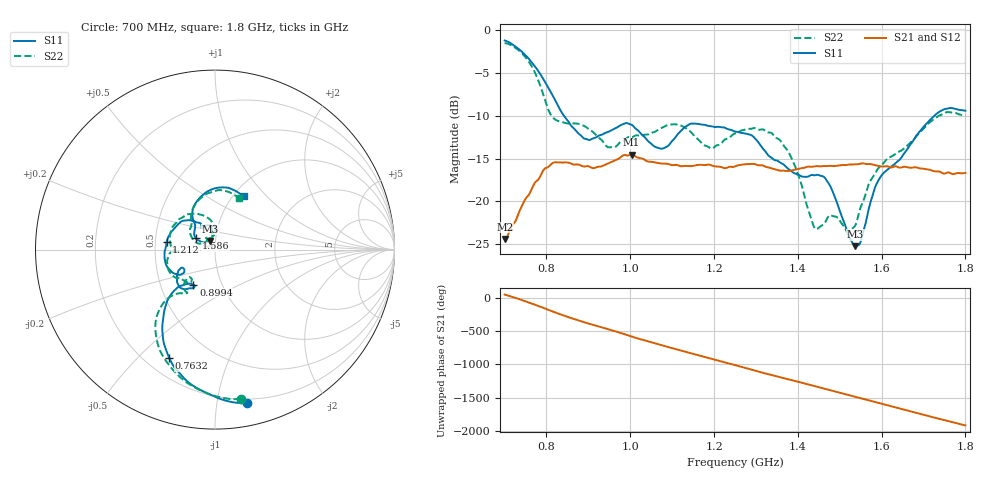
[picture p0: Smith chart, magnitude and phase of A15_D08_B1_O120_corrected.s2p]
! Created with skrf 1.9.0 (http://scikit-rf.org).
# Hz S RI R 50.0
!freq ReS11 ImS11 ReS21 ImS21 ReS12 ImS12 ReS22 ImS22
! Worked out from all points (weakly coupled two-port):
!   1601 points, 700 MHz to 1.8 GHz, reference 50 ohm
!   highest |S21| = -14.51 dB at 1.003 GHz (marker M1); lowest = -24.4 dB at 700.7 MHz (marker M2)
!   lowest |S11| = -25.2 dB at 1.537 GHz (marker M3), VSWR 1.12, Z = 47.3 + j4.6 ohm
!   |S11| at or under -10 dB: 841.9 MHz to 1.725 GHz (883.5 MHz wide, 68.8 % of centre)
!   |S22| runs from -23.6 to -1.5 dB; largest |S21 - S12| = 0.0037
!   S11 on the Smith chart (normalised r, x): 700 MHz: 0.17, -1.21; 763.2 MHz: 0.29, -0.62; 899.4 MHz: 0.73, -0.30; 1.212 GHz: 0.57, +0.05; 1.586 GHz: 0.80, +0.10; 1.8 GHz: 1.12, +0.75
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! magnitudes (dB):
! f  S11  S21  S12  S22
! 700 MHz  -1.2  -24.4  -24.2  -1.5
! 700.7 MHz  -1.2  -24.4  -24.1  -1.5
! 763.2 MHz  -3.7  -18.7  -18.7  -4.1
! 814.8 MHz  -7.6  -15.5  -15.6  -10.2
! 883.6 MHz  -12.4  -15.8  -15.7  -11.0
! 899.4 MHz  -12.8  -15.9  -15.9  -11.5
! 949.6 MHz  -11.8  -15.5  -15.5  -13.7
! 1.003 GHz  -11.0  -14.5  -14.6  -12.5
! 1.067 GHz  -13.7  -15.5  -15.5  -11.6
! 1.143 GHz  -10.9  -15.9  -15.8  -11.8
! 1.212 GHz  -11.3  -15.9  -15.9  -13.4
! 1.25 GHz  -11.8  -15.9  -15.8  -12.1
! 1.358 GHz  -15.5  -16.4  -16.4  -12.9
! 1.394 GHz  -16.7  -16.3  -16.3  -15.9
! 1.434 GHz  -16.9  -15.9  -15.9  -22.3
! 1.473 GHz  -17.8  -15.8  -15.9  -21.8
! 1.537 GHz  -25.2  -15.7  -15.7  -22.8
! 1.551 GHz  -24.5  -15.6  -15.6  -20.5
! 1.586 GHz  -18.1  -15.8  -15.8  -16.5
! 1.617 GHz  -16.1  -15.9  -15.9  -14.9
! 1.733 GHz  -9.7  -16.5  -16.5  -10.1
! 1.8 GHz  -9.4  -16.7  -16.7  -10.0
